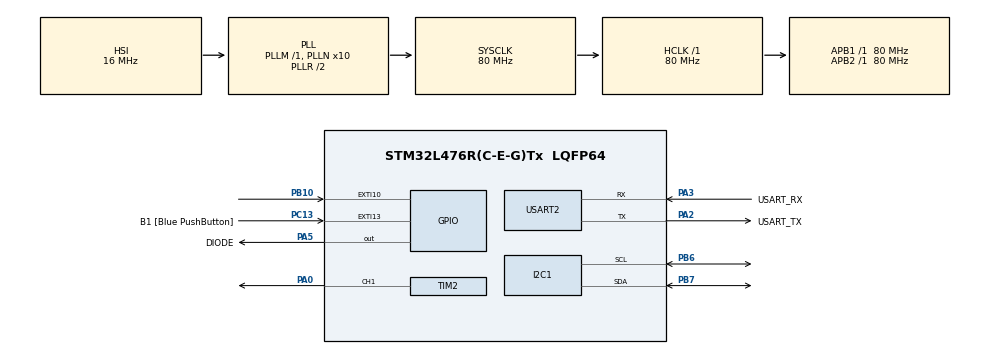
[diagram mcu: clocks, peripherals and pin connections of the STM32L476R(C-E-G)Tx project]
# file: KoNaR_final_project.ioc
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FREERTOS.Tasks01=defaultTask,0,128,StartDefaultTask,Default,NULL,Dynamic,NULL,NULL
FREERTOS.configENABLE_FPU=1
FREERTOS.configTOTAL_HEAP_SIZE=10000
I2C1.Timing=0x10909CEC
Mcu.Family=STM32L4
Mcu.Name=STM32L476R(C-E-G)Tx
Mcu.Package=LQFP64
NVIC.EXTI15_10_IRQn=true\:5\:0\:false\:false\:true\:true\:true\:true\:true
NVIC.I2C1_EV_IRQn=true\:5\:0\:false\:false\:true\:true\:true\:true\:true
NVIC.PriorityGroup=NVIC_PRIORITYGROUP_4
NVIC.TIM2_IRQn=true\:5\:0\:false\:false\:true\:true\:true\:true\:true
NVIC.TIM3_IRQn=true\:5\:0\:false\:false\:true\:true\:true\:true\:true
NVIC.USART2_IRQn=true\:5\:0\:false\:false\:true\:true\:true\:true\:true
PA0.Signal=S_TIM2_CH1
PA13\ (JTMS-SWDIO).GPIO_Label=TMS
PA13\ (JTMS-SWDIO).Signal=SYS_JTMS-SWDIO
PA14\ (JTCK-SWCLK).GPIO_Label=TCK
PA14\ (JTCK-SWCLK).Signal=SYS_JTCK-SWCLK
PA2.GPIO_Label=USART_TX
PA2.GPIO_Mode=GPIO_MODE_AF_PP
PA2.GPIO_PuPd=GPIO_NOPULL
PA2.GPIO_Speed=GPIO_SPEED_FREQ_VERY_HIGH
PA2.Mode=Asynchronous
PA2.Signal=USART2_TX
PA3.GPIO_Label=USART_RX
PA3.GPIO_Mode=GPIO_MODE_AF_PP
PA3.GPIO_PuPd=GPIO_NOPULL
PA3.GPIO_Speed=GPIO_SPEED_FREQ_VERY_HIGH
PA3.Mode=Asynchronous
PA3.Signal=USART2_RX
PA5.GPIO_Label=DIODE
PA5.Signal=GPIO_Output
PB10.GPIO_ModeDefaultEXTI=GPIO_MODE_IT_RISING
PB10.Signal=GPXTI10
PB3\ (JTDO-TRACESWO).GPIO_Label=SWO
PB3\ (JTDO-TRACESWO).Signal=SYS_JTDO-SWO
PB6.Mode=I2C
PB6.Signal=I2C1_SCL
PB7.Mode=I2C
PB7.Signal=I2C1_SDA
PC13.GPIO_Label=B1 [Blue PushButton]
PC13.GPIO_ModeDefaultEXTI=GPIO_MODE_IT_FALLING
PC13.GPIO_PuPd=GPIO_NOPULL
PC13.Signal=GPXTI13
PC14-OSC32_IN\ (PC14).Signal=RCC_OSC32_IN
PC15-OSC32_OUT\ (PC15).Signal=RCC_OSC32_OUT
PH0-OSC_IN\ (PH0).Signal=RCC_OSC_IN
PH1-OSC_OUT\ (PH1).Signal=RCC_OSC_OUT
ProjectManager.HeapSize=0x200
ProjectManager.StackSize=0x400
ProjectManager.TargetToolchain=STM32CubeIDE
RCC.ADCFreq_Value=64000000
RCC.AHBFreq_Value=80000000
RCC.APB1Freq_Value=80000000
RCC.APB1TimFreq_Value=80000000
RCC.APB2Freq_Value=80000000
RCC.APB2TimFreq_Value=80000000
RCC.CortexFreq_Value=80000000
RCC.HCLKFreq_Value=80000000
RCC.HSE_VALUE=8000000
RCC.HSI_VALUE=16000000
RCC.LSE_VALUE=32768
RCC.MSI_VALUE=4000000
RCC.PLLN=10
RCC.PLLSourceVirtual=RCC_PLLSOURCE_HSI
RCC.PREFETCH_ENABLE=1
RCC.SYSCLKFreq_VALUE=80000000
RCC.SYSCLKSource=RCC_SYSCLKSOURCE_PLLCLK
RCC.USBFreq_Value=64000000
RCC.VCOOutputFreq_Value=160000000
SH.S_TIM2_CH1.0=TIM2_CH1,PWM Generation1 CH1
TIM2.Channel-PWM\ Generation1\ CH1=TIM_CHANNEL_1
TIM2.Period=295
TIM2.Prescaler=10394
TIM3.Channel-Output\ Compare1\ No\ Output=TIM_CHANNEL_1
TIM3.Prescaler=55516
USART2.VirtualMode-Asynchronous=VM_ASYNC
VP_FREERTOS_VS_CMSIS_V1.Mode=CMSIS_V1
VP_TIM3_VS_no_output1.Mode=Output Compare1 No Output
board=NUCLEO-L476RG

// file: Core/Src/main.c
/* USER CODE BEGIN Header */
/**
  ******************************************************************************
  * @file           : main.c
  * @brief          : Main program body
  ******************************************************************************
  * @attention
  *
  * Copyright (c) 2023 STMicroelectronics.
  * All rights reserved.
  *
  * This software is licensed under terms that can be found in the LICENSE file
  * in the root directory of this software component.
  * If no LICENSE file comes with this software, it is provided AS-IS.
  *
  ******************************************************************************
  */
/* USER CODE END Header */
#include "main.h"
#include "cmsis_os.h"

/* USER CODE BEGIN Includes */
#include "string.h"
#include "stdio.h"
#include "stdbool.h"
#include "lsm6dsl_register_map.h"

#include "queue.h"

/* USER CODE END Includes */

I2C_HandleTypeDef hi2c1;

TIM_HandleTypeDef htim2;
TIM_HandleTypeDef htim3;

UART_HandleTypeDef huart2;

osThreadId defaultTaskHandle;

void SystemClock_Config(void);
static void MX_GPIO_Init(void);
static void MX_TIM2_Init(void);
static void MX_USART2_UART_Init(void);
static void MX_TIM3_Init(void);
static void MX_I2C1_Init(void);
void StartDefaultTask(void const * argument);

/* USER CODE BEGIN 0 */

static volatile bool blink_flag = false;
static volatile bool button_flag = false;

static volatile bool data_ready_flag = false;
static volatile bool data_send_flag = false;

xQueueHandle queue = NULL;

#define LSM6DSL_I2C_ADDRESS (0b01101011)

static uint8_t sensor_buffer[64];

void lsm6dsl_write_it(uint8_t address, uint8_t value) {
	  HAL_I2C_Mem_Write_IT(&hi2c1, LSM6DSL_I2C_ADDRESS, address, 1, &value, 1);
}

void lsm6dsl_read_it(uint8_t address, uint8_t num) {
	  HAL_I2C_Mem_Read_IT(&hi2c1, LSM6DSL_I2C_ADDRESS, address, 1, sensor_buffer, num);
}

void lsm6dsl_read(uint8_t address, uint8_t* dest,uint8_t num) {
	  HAL_I2C_Mem_Read(&hi2c1, LSM6DSL_I2C_ADDRESS, address, 1, dest, num, HAL_MAX_DELAY);
}

void HAL_I2C_MemRxCpltCallback(I2C_HandleTypeDef *hi2c) {
	if(hi2c == &hi2c1) {
		data_ready_flag = true;
	}
}

void HAL_TIM_PeriodElapsedCallback(TIM_HandleTypeDef *htim) {

	if (htim == &htim2) {

		blink_flag = true;

	} else if (htim == &htim3) {

		data_send_flag = true;

	}

}

void HAL_GPIO_EXTI_Callback(uint16_t GPIO_Pin) {

	if (GPIO_Pin == B1_Pin) {

		button_flag = true;

	} else if (GPIO_Pin == GPIO_PIN_10) {

		data_ready_flag = true;

	}
}

//
//void HAL_UART_TxCpltCallback(UART_HandleTypeDef *huart)
//{
//	if (huart == &huart2) {
//		transimt_flag = true;
//	}
//}

void sender(void *param) {

	while(1) {

		char c;
		if(xQueueReceive(queue, &c, 100)) {
			HAL_UART_Transmit_IT(&huart2, (uint8_t * ) &c, 1);
		}
	}
}

void blink(void *param) {

	while(1) {

		if (blink_flag == true) {

			blink_flag = false;
			HAL_GPIO_TogglePin(DIODE_GPIO_Port, DIODE_Pin);
		}

	}

}

void button(void *param) {
//
//	char buffer[64] = {0};
//	snprintf((char*) buffer, sizeof(buffer), "Button Pressed!\r\n");

	char buffer[64] = "Button Pressed!\r\n";

//	char message[] = "Button Pressed!\r\n";

	while (1) {

		if (button_flag == true) {

			button_flag = false;
//			HAL_UART_Transmit_IT(&huart2, (uint8_t*) buffer, strlen((char*)buffer));
//			HAL_UART_Transmit_IT(&huart2, (uint8_t*) message, strlen(message));
//			HAL_GPIO_TogglePin(DIODE_GPIO_Port, DIODE_Pin);

			for (int i = 0; i < strlen((char*)buffer); i++) {
				if (xQueueSend(queue, &buffer[i], 100)) {
					//udało się
				} else {
					//nie udało się
				}
//				vTaskDelay(20);

			}

		}
	}
}

void sensor(void *param) {

	char str[64] = {0};

	uint8_t who_i_am;
//	HAL_I2C_Mem_Read_IT(&hi2c1, LSM6DSL_I2C_ADDRESS, LSM6DSL_WHO_AM_I, 1, &who_i_am, 1);
//	lsm6dsl_read_it(LSM6DSL_I2C_ADDRESS, 1);
	HAL_I2C_Mem_Read(&hi2c1, LSM6DSL_I2C_ADDRESS, LSM6DSL_WHO_AM_I, 1, &who_i_am, 1, HAL_MAX_DELAY);

	lsm6dsl_read(LSM6DSL_WHO_AM_I, &who_i_am, 1);

	if(who_i_am == 0b01101010) {

		HAL_GPIO_TogglePin(DIODE_GPIO_Port, DIODE_Pin);

	}

	  lsm6dsl_write_it(LSM6DSL_CTRL3_C, (1 << 7) | (1) );
	  lsm6dsl_write_it(LSM6DSL_CTRL1_XL, 1 << 3);
	  lsm6dsl_write_it(LSM6DSL_INT1_CTRL, 1);

	  //starti interupt reading
		lsm6dsl_read_it(LSM6DSL_OUTX_L_XL, 2);

	while (1) {

		if (data_ready_flag == true && data_send_flag == true) {

			data_ready_flag = false;
			data_send_flag = false;

			lsm6dsl_read_it(LSM6DSL_OUTX_L_XL, 2);

			const uint16_t acc_x = (((uint16_t)sensor_buffer[1]<<8)) | sensor_buffer[0];

			//TODO find information about how to interpret magnetometr value
			const float acc = acc_x/1.0;

			//TODO
//			button_flag = false
//			snprintf((char*) buffer, sizeof(buffer), "Button Pressed!\r\n");
//			HAL_UART_Transmit_IT(&huart2, (uint8_t*) buffer, strlen((char*)buffer));
			sprintf(str, "Mag off X %+2.3f\n\r", acc);

			HAL_UART_Transmit_IT(&huart2,  (uint8_t *) str, strlen(str));

		}
	}

}

//void send_sensor_value(void *param) {
//
//	if(transmitCompleteFlag) {
//		transmitCompleteFlag = false;
//
//
//	}
//
//	}

/* USER CODE END 0 */

int main(void)
{

  /* MCU Configuration--------------------------------------------------------*/

  /* Reset of all peripherals, Initializes the Flash interface and the Systick. */
  HAL_Init();

  /* Configure the system clock */
  SystemClock_Config();

  /* Initialize all configured peripherals */
  MX_GPIO_Init();
  MX_TIM2_Init();
  MX_USART2_UART_Init();
  MX_TIM3_Init();
  MX_I2C1_Init();
  /* USER CODE BEGIN 2 */

  //starting timer for LED blink 13 Hz
  HAL_TIM_Base_Start_IT(&htim2);

  /* USER CODE END 2 */

  /* Create the thread(s) */
  /* definition and creation of defaultTask */
  osThreadDef(defaultTask, StartDefaultTask, osPriorityNormal, 0, 128);
  defaultTaskHandle = osThreadCreate(osThread(defaultTask), NULL);

  /* USER CODE BEGIN RTOS_THREADS */
  /* add threads, ... */

  queue = xQueueCreate(1024, sizeof(char));

  xTaskCreate(blink, "blink", 512, NULL, 5, NULL);
  xTaskCreate(button, "button", 512, NULL, 5, NULL);

  xTaskCreate(sender, "sender", 512, NULL, 5, NULL);
//  xTaskCreate(sensor, "sensor", 512, NULL, 5, NULL);

  /* USER CODE END RTOS_THREADS */

  /* Start scheduler */
  osKernelStart();

  /* We should never get here as control is now taken by the scheduler */
  /* Infinite loop */
  while (1)
  {

  }
}

void SystemClock_Config(void)
{
  RCC_OscInitTypeDef RCC_OscInitStruct = {0};
  RCC_ClkInitTypeDef RCC_ClkInitStruct = {0};

  /** Configure the main internal regulator output voltage
  */
  if (HAL_PWREx_ControlVoltageScaling(PWR_REGULATOR_VOLTAGE_SCALE1) != HAL_OK)
  {
    Error_Handler();
  }

  /** Initializes the RCC Oscillators according to the specified parameters
  * in the RCC_OscInitTypeDef structure.
  */
  RCC_OscInitStruct.OscillatorType = RCC_OSCILLATORTYPE_HSI;
  RCC_OscInitStruct.HSIState = RCC_HSI_ON;
  RCC_OscInitStruct.HSICalibrationValue = RCC_HSICALIBRATION_DEFAULT;
  RCC_OscInitStruct.PLL.PLLState = RCC_PLL_ON;
  RCC_OscInitStruct.PLL.PLLSource = RCC_PLLSOURCE_HSI;
  RCC_OscInitStruct.PLL.PLLM = 1;
  RCC_OscInitStruct.PLL.PLLN = 10;
  RCC_OscInitStruct.PLL.PLLP = RCC_PLLP_DIV7;
  RCC_OscInitStruct.PLL.PLLQ = RCC_PLLQ_DIV2;
  RCC_OscInitStruct.PLL.PLLR = RCC_PLLR_DIV2;
  if (HAL_RCC_OscConfig(&RCC_OscInitStruct) != HAL_OK)
  {
    Error_Handler();
  }

  /** Initializes the CPU, AHB and APB buses clocks
  */
  RCC_ClkInitStruct.ClockType = RCC_CLOCKTYPE_HCLK|RCC_CLOCKTYPE_SYSCLK
                              |RCC_CLOCKTYPE_PCLK1|RCC_CLOCKTYPE_PCLK2;
  RCC_ClkInitStruct.SYSCLKSource = RCC_SYSCLKSOURCE_PLLCLK;
  RCC_ClkInitStruct.AHBCLKDivider = RCC_SYSCLK_DIV1;
  RCC_ClkInitStruct.APB1CLKDivider = RCC_HCLK_DIV1;
  RCC_ClkInitStruct.APB2CLKDivider = RCC_HCLK_DIV1;

  if (HAL_RCC_ClockConfig(&RCC_ClkInitStruct, FLASH_LATENCY_4) != HAL_OK)
  {
    Error_Handler();
  }
}

static void MX_I2C1_Init(void)
{

  hi2c1.Instance = I2C1;
  hi2c1.Init.Timing = 0x10909CEC;
  hi2c1.Init.OwnAddress1 = 0;
  hi2c1.Init.AddressingMode = I2C_ADDRESSINGMODE_7BIT;
  hi2c1.Init.DualAddressMode = I2C_DUALADDRESS_DISABLE;
  hi2c1.Init.OwnAddress2 = 0;
  hi2c1.Init.OwnAddress2Masks = I2C_OA2_NOMASK;
  hi2c1.Init.GeneralCallMode = I2C_GENERALCALL_DISABLE;
  hi2c1.Init.NoStretchMode = I2C_NOSTRETCH_DISABLE;
  if (HAL_I2C_Init(&hi2c1) != HAL_OK)
  {
    Error_Handler();
  }

  /** Configure Analogue filter
  */
  if (HAL_I2CEx_ConfigAnalogFilter(&hi2c1, I2C_ANALOGFILTER_ENABLE) != HAL_OK)
  {
    Error_Handler();
  }

  /** Configure Digital filter
  */
  if (HAL_I2CEx_ConfigDigitalFilter(&hi2c1, 0) != HAL_OK)
  {
    Error_Handler();
  }

}

static void MX_TIM2_Init(void)
{

  TIM_MasterConfigTypeDef sMasterConfig = {0};
  TIM_OC_InitTypeDef sConfigOC = {0};

  htim2.Instance = TIM2;
  htim2.Init.Prescaler = 10394;
  htim2.Init.CounterMode = TIM_COUNTERMODE_UP;
  htim2.Init.Period = 295;
  htim2.Init.ClockDivision = TIM_CLOCKDIVISION_DIV1;
  htim2.Init.AutoReloadPreload = TIM_AUTORELOAD_PRELOAD_DISABLE;
  if (HAL_TIM_PWM_Init(&htim2) != HAL_OK)
  {
    Error_Handler();
  }
  sMasterConfig.MasterOutputTrigger = TIM_TRGO_RESET;
  sMasterConfig.MasterSlaveMode = TIM_MASTERSLAVEMODE_DISABLE;
  if (HAL_TIMEx_MasterConfigSynchronization(&htim2, &sMasterConfig) != HAL_OK)
  {
    Error_Handler();
  }
  sConfigOC.OCMode = TIM_OCMODE_PWM1;
  sConfigOC.Pulse = 0;
  sConfigOC.OCPolarity = TIM_OCPOLARITY_HIGH;
  sConfigOC.OCFastMode = TIM_OCFAST_DISABLE;
  if (HAL_TIM_PWM_ConfigChannel(&htim2, &sConfigOC, TIM_CHANNEL_1) != HAL_OK)
  {
    Error_Handler();
  }
  HAL_TIM_MspPostInit(&htim2);

}

static void MX_TIM3_Init(void)
{

  TIM_MasterConfigTypeDef sMasterConfig = {0};
  TIM_OC_InitTypeDef sConfigOC = {0};

  htim3.Instance = TIM3;
  htim3.Init.Prescaler = 55516;
  htim3.Init.CounterMode = TIM_COUNTERMODE_UP;
  htim3.Init.Period = 65535;
  htim3.Init.ClockDivision = TIM_CLOCKDIVISION_DIV1;
  htim3.Init.AutoReloadPreload = TIM_AUTORELOAD_PRELOAD_DISABLE;
  if (HAL_TIM_OC_Init(&htim3) != HAL_OK)
  {
    Error_Handler();
  }
  sMasterConfig.MasterOutputTrigger = TIM_TRGO_RESET;
  sMasterConfig.MasterSlaveMode = TIM_MASTERSLAVEMODE_DISABLE;
  if (HAL_TIMEx_MasterConfigSynchronization(&htim3, &sMasterConfig) != HAL_OK)
  {
    Error_Handler();
  }
  sConfigOC.OCMode = TIM_OCMODE_TIMING;
  sConfigOC.Pulse = 0;
  sConfigOC.OCPolarity = TIM_OCPOLARITY_HIGH;
  sConfigOC.OCFastMode = TIM_OCFAST_DISABLE;
  if (HAL_TIM_OC_ConfigChannel(&htim3, &sConfigOC, TIM_CHANNEL_1) != HAL_OK)
  {
    Error_Handler();
  }

}

static void MX_USART2_UART_Init(void)
{

  huart2.Instance = USART2;
  huart2.Init.BaudRate = 115200;
  huart2.Init.WordLength = UART_WORDLENGTH_8B;
  huart2.Init.StopBits = UART_STOPBITS_1;
  huart2.Init.Parity = UART_PARITY_NONE;
  huart2.Init.Mode = UART_MODE_TX_RX;
  huart2.Init.HwFlowCtl = UART_HWCONTROL_NONE;
  huart2.Init.OverSampling = UART_OVERSAMPLING_16;
  huart2.Init.OneBitSampling = UART_ONE_BIT_SAMPLE_DISABLE;
  huart2.AdvancedInit.AdvFeatureInit = UART_ADVFEATURE_NO_INIT;
  if (HAL_UART_Init(&huart2) != HAL_OK)
  {
    Error_Handler();
  }

}

static void MX_GPIO_Init(void)
{
  GPIO_InitTypeDef GPIO_InitStruct = {0};

  /* GPIO Ports Clock Enable */
  __HAL_RCC_GPIOC_CLK_ENABLE();
  __HAL_RCC_GPIOH_CLK_ENABLE();
  __HAL_RCC_GPIOA_CLK_ENABLE();
  __HAL_RCC_GPIOB_CLK_ENABLE();

  /*Configure GPIO pin Output Level */
  HAL_GPIO_WritePin(DIODE_GPIO_Port, DIODE_Pin, GPIO_PIN_RESET);

  /*Configure GPIO pin : B1_Pin */
  GPIO_InitStruct.Pin = B1_Pin;
  GPIO_InitStruct.Mode = GPIO_MODE_IT_FALLING;
  GPIO_InitStruct.Pull = GPIO_NOPULL;
  HAL_GPIO_Init(B1_GPIO_Port, &GPIO_InitStruct);

  /*Configure GPIO pin : DIODE_Pin */
  GPIO_InitStruct.Pin = DIODE_Pin;
  GPIO_InitStruct.Mode = GPIO_MODE_OUTPUT_PP;
  GPIO_InitStruct.Pull = GPIO_NOPULL;
  GPIO_InitStruct.Speed = GPIO_SPEED_FREQ_LOW;
  HAL_GPIO_Init(DIODE_GPIO_Port, &GPIO_InitStruct);

  /*Configure GPIO pin : PB10 */
  GPIO_InitStruct.Pin = GPIO_PIN_10;
  GPIO_InitStruct.Mode = GPIO_MODE_IT_RISING;
  GPIO_InitStruct.Pull = GPIO_NOPULL;
  HAL_GPIO_Init(GPIOB, &GPIO_InitStruct);

  /* EXTI interrupt init*/
  HAL_NVIC_SetPriority(EXTI15_10_IRQn, 5, 0);
  HAL_NVIC_EnableIRQ(EXTI15_10_IRQn);

}

void StartDefaultTask(void const * argument)
{
  for(;;)
  {
    osDelay(1);
  }
}

void Error_Handler(void)
{
  __disable_irq();
  while (1)
  {
  }
}
